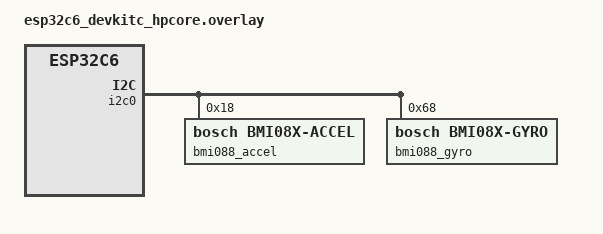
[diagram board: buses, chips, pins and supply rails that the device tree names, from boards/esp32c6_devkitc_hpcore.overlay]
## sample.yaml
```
sample:
  description: BMI088 sensor test application
  name: bmi088 test
common:
  tags: sensor
  integration_platforms:
    - native_sim
  harness: console
  harness_config:
    type: one_line
    regex:
      - "BMI088.*test"
tests:
  sample.basic.bmi088_test:
    tags: sensor
```

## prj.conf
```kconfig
CONFIG_SENSOR=y
CONFIG_BMI08X=y
CONFIG_I2C=y

CONFIG_STDOUT_CONSOLE=y
CONFIG_CBPRINTF_FP_SUPPORT=y

CONFIG_LOG=y
CONFIG_LOG_MODE_IMMEDIATE=y
CONFIG_LOG_BACKEND_UART=y
CONFIG_SENSOR_LOG_LEVEL_DBG=y
```

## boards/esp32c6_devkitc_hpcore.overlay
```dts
/*
 * SPDX-License-Identifier: Apache-2.0
 * 
 * Overlay for custom ESP32C6 PCB
 * Override I2C pin assignments to match your PCB
 */

&pinctrl {
	i2c0_default: i2c0_default {
		group1 {
			pinmux = <I2C0_SDA_GPIO15>,  
				 <I2C0_SCL_GPIO14>;  
			bias-pull-up;
			drive-open-drain;
			output-high;
		};
	};
};

&i2c0 {
	status = "okay";
	pinctrl-0 = <&i2c0_default>;
	pinctrl-names = "default";
	
	/* BMI088 Accelerometer at I2C address 0x18 */
	bmi088_accel: bmi08x@18 {
		compatible = "bosch,bmi08x-accel";
		reg = <0x18>;
		accel-hz = "800";
		accel-fs = <6>;
		status = "okay";
	};
	
	/* BMI088 Gyroscope at I2C address 0x68 */
	bmi088_gyro: bmi08x@68 {
		compatible = "bosch,bmi08x-gyro";
		reg = <0x68>;
		gyro-hz = "1000_116";
		gyro-fs = <1000>;
		status = "okay";
	};
};

/ {
	/* Define aliases for easier access in code */
	aliases {
		bmi088-accel = &bmi088_accel;
		bmi088-gyro = &bmi088_gyro;
	};
};
```

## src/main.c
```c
/*
 * SPDX-License-Identifier: Apache-2.0
 */

#include <zephyr/kernel.h>
#include <zephyr/device.h>
#include <zephyr/drivers/sensor.h>
#include <zephyr/drivers/i2c.h>
#include <stdio.h>

/* Get device tree nodes for accelerometer and gyroscope
 * The device tree should define aliases:
 *   aliases {
 *     bmi088-accel = &bmi088_accel;
 *     bmi088-gyro = &bmi088_gyro;
 *   };
 */
#define BMI088_ACCEL_NODE DT_ALIAS(bmi088_accel)
#define BMI088_GYRO_NODE DT_ALIAS(bmi088_gyro)

#if !DT_NODE_EXISTS(BMI088_ACCEL_NODE)
#error "BMI088 accelerometer alias 'bmi088-accel' not defined in device tree"
#endif

#if !DT_NODE_EXISTS(BMI088_GYRO_NODE)
#error "BMI088 gyroscope alias 'bmi088-gyro' not defined in device tree"
#endif

static const struct device *accel_dev = DEVICE_DT_GET(BMI088_ACCEL_NODE);
static const struct device *gyro_dev = DEVICE_DT_GET(BMI088_GYRO_NODE);

int main(void)
{
	struct sensor_value accel[3], gyro[3], temp;
	int ret;

	printf("BMI088 Sensor Test Application\n");
	printf("==============================\n\n");

	/* Check if accelerometer device is ready */
	if (!device_is_ready(accel_dev)) {
		printf("Error: Accelerometer device is not ready\n");
		return 1;
	}
	printf("Accelerometer device ready: %s\n", accel_dev->name);

	/* Check if gyroscope device is ready */
	if (!device_is_ready(gyro_dev)) {
		printf("Error: Gyroscope device is not ready\n");
		return 1;
	}
	printf("Gyroscope device ready: %s\n\n", gyro_dev->name);

	/* Main loop - read sensor data periodically */
	while (1) {
		/* Read accelerometer data */
		ret = sensor_sample_fetch(accel_dev);
		if (ret < 0) {
			printf("Error: Failed to fetch accelerometer sample: %d\n", ret);
		} else {
			ret = sensor_channel_get(accel_dev, SENSOR_CHAN_ACCEL_XYZ, accel);
			if (ret < 0) {
				printf("Error: Failed to get accelerometer data: %d\n", ret);
			} else {
				printf("Accelerometer - X: %.6f m/s^2, Y: %.6f m/s^2, Z: %.6f m/s^2\n",
				       sensor_value_to_double(&accel[0]),
				       sensor_value_to_double(&accel[1]),
				       sensor_value_to_double(&accel[2]));
			}
		}

		/* Read gyroscope data */
		ret = sensor_sample_fetch(gyro_dev);
		if (ret < 0) {
			printf("Error: Failed to fetch gyroscope sample: %d\n", ret);
		} else {
			ret = sensor_channel_get(gyro_dev, SENSOR_CHAN_GYRO_XYZ, gyro);
			if (ret < 0) {
				printf("Error: Failed to get gyroscope data: %d\n", ret);
			} else {
				printf("Gyroscope     - X: %.6f rad/s, Y: %.6f rad/s, Z: %.6f rad/s\n",
				       sensor_value_to_double(&gyro[0]),
				       sensor_value_to_double(&gyro[1]),
				       sensor_value_to_double(&gyro[2]));
			}
		}

		/* Read temperature from accelerometer */
		ret = sensor_channel_get(accel_dev, SENSOR_CHAN_DIE_TEMP, &temp);
		if (ret < 0) {
			printf("Error: Failed to get temperature: %d\n", ret);
		} else {
			printf("Temperature    - %.2f °C\n", sensor_value_to_double(&temp));
		}

		printf("---\n");

		/* Wait before next reading */
		k_msleep(10);
	}

	return 0;
}
```
